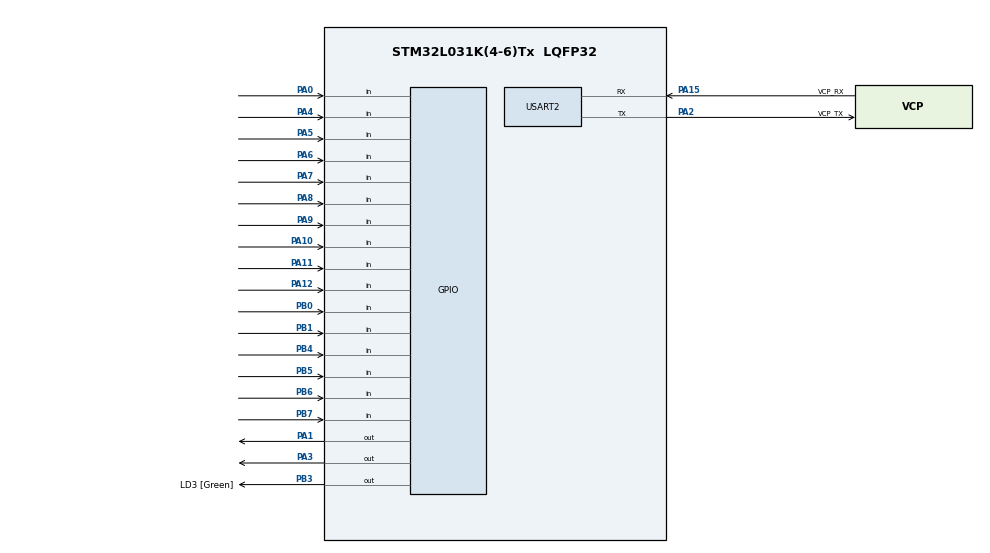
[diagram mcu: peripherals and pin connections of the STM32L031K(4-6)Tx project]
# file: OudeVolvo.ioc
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Mcu.Family=STM32L0
Mcu.Name=STM32L031K(4-6)Tx
Mcu.Package=LQFP32
PA0-CK_IN.Signal=GPIO_Input
PA1.Signal=GPIO_Output
PA10.GPIO_PuPd=GPIO_PULLDOWN
PA10.Signal=GPIO_Input
PA11.GPIO_PuPd=GPIO_PULLDOWN
PA11.Signal=GPIO_Input
PA12.GPIO_PuPd=GPIO_PULLDOWN
PA12.Signal=GPIO_Input
PA13.GPIO_Label=TMS
PA13.Mode=Serial_Wire
PA13.Signal=SYS_SWDIO
PA14.GPIO_Label=TCK
PA14.Mode=Serial_Wire
PA14.Signal=SYS_SWCLK
PA15.GPIO_Label=VCP_RX
PA15.Mode=Asynchronous
PA15.Signal=USART2_RX
PA2.GPIO_Label=VCP_TX
PA2.Mode=Asynchronous
PA2.Signal=USART2_TX
PA3.Signal=GPIO_Output
PA4.GPIO_PuPd=GPIO_PULLDOWN
PA4.Signal=GPIO_Input
PA5.GPIO_PuPd=GPIO_PULLDOWN
PA5.Signal=GPIO_Input
PA6.GPIO_PuPd=GPIO_PULLDOWN
PA6.Signal=GPIO_Input
PA7.GPIO_PuPd=GPIO_PULLDOWN
PA7.Signal=GPIO_Input
PA8.GPIO_PuPd=GPIO_PULLDOWN
PA8.Signal=GPIO_Input
PA9.GPIO_PuPd=GPIO_PULLDOWN
PA9.Signal=GPIO_Input
PB0.GPIO_PuPd=GPIO_PULLDOWN
PB0.Signal=GPIO_Input
PB1.GPIO_PuPd=GPIO_PULLDOWN
PB1.Signal=GPIO_Input
PB3.GPIO_Label=LD3 [Green]
PB3.Signal=GPIO_Output
PB4.GPIO_PuPd=GPIO_PULLDOWN
PB4.Signal=GPIO_Input
PB5.GPIO_PuPd=GPIO_PULLDOWN
PB5.Signal=GPIO_Input
PB6.GPIO_PuPd=GPIO_PULLDOWN
PB6.Signal=GPIO_Input
PB7.GPIO_PuPd=GPIO_PULLDOWN
PB7.Signal=GPIO_Input
PC14-OSC32_IN.Mode=LSE-External-Oscillator
PC14-OSC32_IN.Signal=RCC_OSC32_IN
PC15-OSC32_OUT.Mode=LSE-External-Oscillator
PC15-OSC32_OUT.Signal=RCC_OSC32_OUT
ProjectManager.HeapSize=0x200
ProjectManager.StackSize=0x400
ProjectManager.TargetToolchain=STM32CubeIDE
RCC.AHBFreq_Value=32000000
RCC.APB1Freq_Value=32000000
RCC.APB1TimFreq_Value=32000000
RCC.APB2Freq_Value=32000000
RCC.APB2TimFreq_Value=32000000
RCC.HCLKFreq_Value=32000000
RCC.HSE_VALUE=8000000
RCC.HSI16_VALUE=16000000
RCC.HSI48_VALUE=48000000
RCC.HSI_VALUE=16000000
RCC.MSI_VALUE=2097000
RCC.PLLMUL=RCC_PLLMUL_4
RCC.SYSCLKFreq_VALUE=32000000
RCC.SYSCLKSource=RCC_SYSCLKSOURCE_PLLCLK
RCC.VCOOutputFreq_Value=64000000
USART2.VirtualMode-Asynchronous=VM_ASYNC
board=NUCLEO-L031K6

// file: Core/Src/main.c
/* USER CODE BEGIN Header */
/**
  ******************************************************************************
  * @file           : main.c
  * @brief          : Main program body
  ******************************************************************************
  * @attention
  *
  * <h2><center>&copy; Copyright (c) 2021 STMicroelectronics.
  * All rights reserved.</center></h2>
  *
  * This software component is licensed by ST under BSD 3-Clause license,
  * the "License"; You may not use this file except in compliance with the
  * License. You may obtain a copy of the License at:
  *                        opensource.org/licenses/BSD-3-Clause
  *
  ******************************************************************************
  */
/* USER CODE END Header */
#include "main.h"

/* USER CODE BEGIN PV */

	/*pas hier uw tijden aan*/
	 int Heengaandetijd = 1000; //1000ms
	 int Teruggaandetijd = 1000; //1000ms
	 int Wachttijdnaheengaan = 500;     /* 600ms  Vereiste: Wachtijdnaheengaan >= deadtime*/
	 int Wachttijdnaterugkomen = 2000; /*1500ms Vereiste: Wachtijdnaterugkomen >= deadtime*/

	 /* default values - don't change*/
 	 int Period = 2000; 	// 1000ms
 	 int DeadTime = 50;	//	100ms
 	 int SwitchoverTime1 =600; //500ms
	 int SwitchoverTime2 =1500; //2000ms

	 /*variables used to program eeprom*/
//	 static uint16_t error = 0;
// uint32_t test_to_be_performed_twice = 1; //this variable is set to 2 if the first address of the page to erase is yet erased

/* USER CODE END PV */

void SystemClock_Config(void);
static void MX_GPIO_Init(void);
static void MX_USART2_UART_Init(void);

int main(void)
{

  /* MCU Configuration--------------------------------------------------------*/

  /* Reset of all peripherals, Initializes the Flash interface and the Systick. */

  LL_APB2_GRP1_EnableClock(LL_APB2_GRP1_PERIPH_SYSCFG);
  LL_APB1_GRP1_EnableClock(LL_APB1_GRP1_PERIPH_PWR);

  /* System interrupt init*/

  /* Configure the system clock */
  SystemClock_Config();

  /* Initialize all configured peripherals */
  MX_GPIO_Init();
  MX_USART2_UART_Init();
  /* USER CODE BEGIN 2 */
  	  //LL_mDelay(DeadTime); // for safety reasons. To make sure minimum time between toggeling relays
  if (Wachttijdnaheengaan < DeadTime)
  	  {
	  	  Wachttijdnaheengaan = DeadTime;
  	  }
  if (Wachttijdnaterugkomen < DeadTime)
	  {
	  	  Wachttijdnaterugkomen = DeadTime;
	  }
  Period = Heengaandetijd + Teruggaandetijd + (2*DeadTime);
  SwitchoverTime1 =Wachttijdnaheengaan-DeadTime;
  SwitchoverTime2 =Wachttijdnaterugkomen-DeadTime;

  /* USER CODE END 2 */

  /* Infinite loop */
  /* USER CODE BEGIN WHILE */
  while (1)
  {
/*
 * SIGNAAL  pin 1
 * 						*********************					  *******************
 *						*	 				*				      *					*
 * 			*************			 		***********************					****************
 * 						|					|					| |					| |
 * Signaal pin 4		|					|					| |                 | |
 * 			***********	|					| ******************* |          		| ************
 * 					  *	|					| *					* |					| *
 * 					  *************************					***********************
 * 					  |	|					| |					| |					| |
 * 					  | |					| |					| |					| |
 * 					  t0|				    t2|					t0|					t2|
 *						t1					  t3				  t1				  t3
 *
 *						|<--------------1 period--------------->|
 *					  |-| deadtime
 *
 *Period = 1 cycle in milliseconds where motor turned up and down
 *DeadTime = time required to toggle motor for diretion. time required where as both relays are not energiezed thus open.
 * delay tussen t0 en t1  ; delay tussen t2 en t3 -> to avoid short circuit of the channel.
*/

	  // @ t = t0
	  	  LL_GPIO_TogglePin(GPIOA, LL_GPIO_PIN_4);
	  	  LL_GPIO_TogglePin(LD3_GPIO_Port, LD3_Pin);
	  	  /*wait ms to avoid cross conduction*/
	  	  LL_mDelay(DeadTime);
	      LL_mDelay(SwitchoverTime2);
	  // @ t = t1
	  	  LL_GPIO_TogglePin(GPIOA, LL_GPIO_PIN_1);
	  	LL_GPIO_TogglePin(LD3_GPIO_Port, LD3_Pin);
	  	  LL_mDelay((Period/2)-DeadTime);
	  // @ t = t2
	  	  LL_GPIO_TogglePin(GPIOA, LL_GPIO_PIN_1);
	  	LL_GPIO_TogglePin(LD3_GPIO_Port, LD3_Pin);
	  	  LL_mDelay(DeadTime);
	  	  LL_mDelay(SwitchoverTime1);
	  // @ t = t3
	   	  LL_GPIO_TogglePin(GPIOA, LL_GPIO_PIN_4);
	   	  LL_GPIO_TogglePin(LD3_GPIO_Port, LD3_Pin);
	   	  LL_mDelay((Period/2)-DeadTime);
    /* USER CODE END WHILE */

    /* USER CODE BEGIN 3 */
  }

  // Write a byte to EEPROM
//    UnlockPELOCK();
//    FLASH->PECR |= FLASH_PECR_ERRIE | FLASH_PECR_EOPIE; /* enable flash interrupts */
    /* Check if the first address of the page is yet erased,this is only for this example */
/*    if (*(uint32_t *)(DATA_E2_ADDR) == (uint32_t)0)
     {
      test_to_be_performed_twice = 2;
    }

    while (test_to_be_performed_twice-- > 0)
    {
      EepromErase(DATA_E2_ADDR);
      __WFI();
      if (*(uint32_t *)(DATA_E2_ADDR) != (uint32_t)0)
      {
        error |= ERROR_ERASE;
      }
*/
      /* Perform data programming */
      /* (1) Write in data EEPROM */
//     *(uint8_t *)(DATA_E2_ADDR+1) = DATA_BYTE; /* (1) */
/*      __WFI();
      if  (*(uint8_t *)(DATA_E2_ADDR+1) != DATA_BYTE)
      {
        error |= ERROR_PROG_BYTE;
      }
*/
 //     *(uint16_t *)(DATA_E2_ADDR+2) = DATA_16B_WORD; /* (1) */
/*      __WFI();
      if  (*(uint32_t *)(DATA_E2_ADDR) != ((DATA_BYTE << 8) + (DATA_16B_WORD << 16) ))
      {
        error |= ERROR_PROG_16B_WORD;
      }
*/
//      *(uint32_t *)(DATA_E2_ADDR) = DATA_32B_WORD; /* (1) */
/*      __WFI();
      if  (*(uint32_t *)(DATA_E2_ADDR) != DATA_32B_WORD)
      {
        error |= ERROR_PROG_32B_WORD;
      }
    }
    LockNVM();
*/
  /* USER CODE END 3 */
}

void SystemClock_Config(void)
{
  LL_FLASH_SetLatency(LL_FLASH_LATENCY_1);
  while(LL_FLASH_GetLatency()!= LL_FLASH_LATENCY_1)
  {
  }
  LL_PWR_SetRegulVoltageScaling(LL_PWR_REGU_VOLTAGE_SCALE1);
  LL_RCC_HSI_Enable();

   /* Wait till HSI is ready */
  while(LL_RCC_HSI_IsReady() != 1)
  {

  }
  LL_RCC_HSI_SetCalibTrimming(16);
  LL_RCC_PLL_ConfigDomain_SYS(LL_RCC_PLLSOURCE_HSI, LL_RCC_PLL_MUL_4, LL_RCC_PLL_DIV_2);
  LL_RCC_PLL_Enable();

   /* Wait till PLL is ready */
  while(LL_RCC_PLL_IsReady() != 1)
  {

  }
  LL_RCC_SetAHBPrescaler(LL_RCC_SYSCLK_DIV_1);
  LL_RCC_SetAPB1Prescaler(LL_RCC_APB1_DIV_1);
  LL_RCC_SetAPB2Prescaler(LL_RCC_APB2_DIV_1);
  LL_RCC_SetSysClkSource(LL_RCC_SYS_CLKSOURCE_PLL);

   /* Wait till System clock is ready */
  while(LL_RCC_GetSysClkSource() != LL_RCC_SYS_CLKSOURCE_STATUS_PLL)
  {

  }

  LL_Init1msTick(32000000);

  LL_SetSystemCoreClock(32000000);
  LL_RCC_SetUSARTClockSource(LL_RCC_USART2_CLKSOURCE_PCLK1);
}

static void MX_USART2_UART_Init(void)
{

  LL_USART_InitTypeDef USART_InitStruct = {0};

  LL_GPIO_InitTypeDef GPIO_InitStruct = {0};

  /* Peripheral clock enable */
  LL_APB1_GRP1_EnableClock(LL_APB1_GRP1_PERIPH_USART2);

  LL_IOP_GRP1_EnableClock(LL_IOP_GRP1_PERIPH_GPIOA);
  /**USART2 GPIO Configuration
  PA2   ------> USART2_TX
  PA15   ------> USART2_RX
  */
  GPIO_InitStruct.Pin = VCP_TX_Pin;
  GPIO_InitStruct.Mode = LL_GPIO_MODE_ALTERNATE;
  GPIO_InitStruct.Speed = LL_GPIO_SPEED_FREQ_VERY_HIGH;
  GPIO_InitStruct.OutputType = LL_GPIO_OUTPUT_PUSHPULL;
  GPIO_InitStruct.Pull = LL_GPIO_PULL_NO;
  GPIO_InitStruct.Alternate = LL_GPIO_AF_4;
  LL_GPIO_Init(VCP_TX_GPIO_Port, &GPIO_InitStruct);

  GPIO_InitStruct.Pin = VCP_RX_Pin;
  GPIO_InitStruct.Mode = LL_GPIO_MODE_ALTERNATE;
  GPIO_InitStruct.Speed = LL_GPIO_SPEED_FREQ_VERY_HIGH;
  GPIO_InitStruct.OutputType = LL_GPIO_OUTPUT_PUSHPULL;
  GPIO_InitStruct.Pull = LL_GPIO_PULL_NO;
  GPIO_InitStruct.Alternate = LL_GPIO_AF_4;
  LL_GPIO_Init(VCP_RX_GPIO_Port, &GPIO_InitStruct);

  USART_InitStruct.BaudRate = 115200;
  USART_InitStruct.DataWidth = LL_USART_DATAWIDTH_8B;
  USART_InitStruct.StopBits = LL_USART_STOPBITS_1;
  USART_InitStruct.Parity = LL_USART_PARITY_NONE;
  USART_InitStruct.TransferDirection = LL_USART_DIRECTION_TX_RX;
  USART_InitStruct.HardwareFlowControl = LL_USART_HWCONTROL_NONE;
  USART_InitStruct.OverSampling = LL_USART_OVERSAMPLING_16;
  LL_USART_Init(USART2, &USART_InitStruct);
  LL_USART_ConfigAsyncMode(USART2);
  LL_USART_Enable(USART2);

}

static void MX_GPIO_Init(void)
{
  LL_GPIO_InitTypeDef GPIO_InitStruct = {0};

  /* GPIO Ports Clock Enable */
  LL_IOP_GRP1_EnableClock(LL_IOP_GRP1_PERIPH_GPIOC);
  LL_IOP_GRP1_EnableClock(LL_IOP_GRP1_PERIPH_GPIOA);
  LL_IOP_GRP1_EnableClock(LL_IOP_GRP1_PERIPH_GPIOB);

  /**/
  LL_GPIO_ResetOutputPin(GPIOA, LL_GPIO_PIN_1);

  /**/
  LL_GPIO_SetOutputPin(GPIOA, LL_GPIO_PIN_3);

  /**/
  LL_GPIO_SetOutputPin(GPIOA, LL_GPIO_PIN_4);

  /**/
  LL_GPIO_SetOutputPin(LD3_GPIO_Port, LD3_Pin);

  /**/
  GPIO_InitStruct.Pin = LL_GPIO_PIN_0;
  GPIO_InitStruct.Mode = LL_GPIO_MODE_INPUT;
  GPIO_InitStruct.Pull = LL_GPIO_PULL_NO;
  LL_GPIO_Init(GPIOA, &GPIO_InitStruct);

  /**/
  GPIO_InitStruct.Pin = LL_GPIO_PIN_1;
  GPIO_InitStruct.Mode = LL_GPIO_MODE_OUTPUT;
  GPIO_InitStruct.Speed = LL_GPIO_SPEED_FREQ_LOW;
  GPIO_InitStruct.OutputType = LL_GPIO_OUTPUT_PUSHPULL;
  GPIO_InitStruct.Pull = LL_GPIO_PULL_NO;
  LL_GPIO_Init(GPIOA, &GPIO_InitStruct);

  /**/
  GPIO_InitStruct.Pin = LL_GPIO_PIN_3;
  GPIO_InitStruct.Mode = LL_GPIO_MODE_INPUT;
  GPIO_InitStruct.Pull = LL_GPIO_PULL_DOWN;
  LL_GPIO_Init(GPIOA, &GPIO_InitStruct);

  /**/  /*Dit is PIN 9 OF A3 van het nucleo bord */
  GPIO_InitStruct.Pin = LL_GPIO_PIN_4;
  GPIO_InitStruct.Mode = LL_GPIO_MODE_OUTPUT;
  GPIO_InitStruct.Speed = LL_GPIO_SPEED_FREQ_LOW;
  GPIO_InitStruct.OutputType = LL_GPIO_OUTPUT_PUSHPULL;
  GPIO_InitStruct.Pull = LL_GPIO_PULL_NO;
  LL_GPIO_Init(GPIOA, &GPIO_InitStruct);

  /**/
  GPIO_InitStruct.Pin = LL_GPIO_PIN_5;
  GPIO_InitStruct.Mode = LL_GPIO_MODE_INPUT;
  GPIO_InitStruct.Pull = LL_GPIO_PULL_DOWN;
  LL_GPIO_Init(GPIOA, &GPIO_InitStruct);

  /**/
  GPIO_InitStruct.Pin = LL_GPIO_PIN_6;
  GPIO_InitStruct.Mode = LL_GPIO_MODE_INPUT;
  GPIO_InitStruct.Pull = LL_GPIO_PULL_DOWN;
  LL_GPIO_Init(GPIOA, &GPIO_InitStruct);

  /**/
  GPIO_InitStruct.Pin = LL_GPIO_PIN_7;
  GPIO_InitStruct.Mode = LL_GPIO_MODE_INPUT;
  GPIO_InitStruct.Pull = LL_GPIO_PULL_DOWN;
  LL_GPIO_Init(GPIOA, &GPIO_InitStruct);

  /**/
  GPIO_InitStruct.Pin = LL_GPIO_PIN_8;
  GPIO_InitStruct.Mode = LL_GPIO_MODE_INPUT;
  GPIO_InitStruct.Pull = LL_GPIO_PULL_DOWN;
  LL_GPIO_Init(GPIOA, &GPIO_InitStruct);

  /**/
  GPIO_InitStruct.Pin = LL_GPIO_PIN_9;
  GPIO_InitStruct.Mode = LL_GPIO_MODE_INPUT;
  GPIO_InitStruct.Pull = LL_GPIO_PULL_DOWN;
  LL_GPIO_Init(GPIOA, &GPIO_InitStruct);

  /**/
  GPIO_InitStruct.Pin = LL_GPIO_PIN_10;
  GPIO_InitStruct.Mode = LL_GPIO_MODE_INPUT;
  GPIO_InitStruct.Pull = LL_GPIO_PULL_DOWN;
  LL_GPIO_Init(GPIOA, &GPIO_InitStruct);

  /**/
  GPIO_InitStruct.Pin = LL_GPIO_PIN_11;
  GPIO_InitStruct.Mode = LL_GPIO_MODE_INPUT;
  GPIO_InitStruct.Pull = LL_GPIO_PULL_DOWN;
  LL_GPIO_Init(GPIOA, &GPIO_InitStruct);

  /**/
  GPIO_InitStruct.Pin = LL_GPIO_PIN_12;
  GPIO_InitStruct.Mode = LL_GPIO_MODE_INPUT;
  GPIO_InitStruct.Pull = LL_GPIO_PULL_DOWN;
  LL_GPIO_Init(GPIOA, &GPIO_InitStruct);

  /**/
  GPIO_InitStruct.Pin = LL_GPIO_PIN_0;
  GPIO_InitStruct.Mode = LL_GPIO_MODE_INPUT;
  GPIO_InitStruct.Pull = LL_GPIO_PULL_DOWN;
  LL_GPIO_Init(GPIOB, &GPIO_InitStruct);

  /**/
  GPIO_InitStruct.Pin = LL_GPIO_PIN_1;
  GPIO_InitStruct.Mode = LL_GPIO_MODE_INPUT;
  GPIO_InitStruct.Pull = LL_GPIO_PULL_DOWN;
  LL_GPIO_Init(GPIOB, &GPIO_InitStruct);

  /**/
  GPIO_InitStruct.Pin = LD3_Pin;
  GPIO_InitStruct.Mode = LL_GPIO_MODE_OUTPUT;
  GPIO_InitStruct.Speed = LL_GPIO_SPEED_FREQ_LOW;
  GPIO_InitStruct.OutputType = LL_GPIO_OUTPUT_PUSHPULL;
  GPIO_InitStruct.Pull = LL_GPIO_PULL_NO;
  LL_GPIO_Init(LD3_GPIO_Port, &GPIO_InitStruct);

  /**/
  GPIO_InitStruct.Pin = LL_GPIO_PIN_4;
  GPIO_InitStruct.Mode = LL_GPIO_MODE_INPUT;
  GPIO_InitStruct.Pull = LL_GPIO_PULL_DOWN;
  LL_GPIO_Init(GPIOB, &GPIO_InitStruct);

  /**/
  GPIO_InitStruct.Pin = LL_GPIO_PIN_5;
  GPIO_InitStruct.Mode = LL_GPIO_MODE_INPUT;
  GPIO_InitStruct.Pull = LL_GPIO_PULL_DOWN;
  LL_GPIO_Init(GPIOB, &GPIO_InitStruct);

  /**/
  GPIO_InitStruct.Pin = LL_GPIO_PIN_6;
  GPIO_InitStruct.Mode = LL_GPIO_MODE_INPUT;
  GPIO_InitStruct.Pull = LL_GPIO_PULL_DOWN;
  LL_GPIO_Init(GPIOB, &GPIO_InitStruct);

  /**/
  GPIO_InitStruct.Pin = LL_GPIO_PIN_7;
  GPIO_InitStruct.Mode = LL_GPIO_MODE_INPUT;
  GPIO_InitStruct.Pull = LL_GPIO_PULL_DOWN;
  LL_GPIO_Init(GPIOB, &GPIO_InitStruct);

}

void Error_Handler(void)
{
  __disable_irq();
  while (1)
  {
  }
}

/************************ (C) COPYRIGHT STMicroelectronics *****END OF FILE****/
